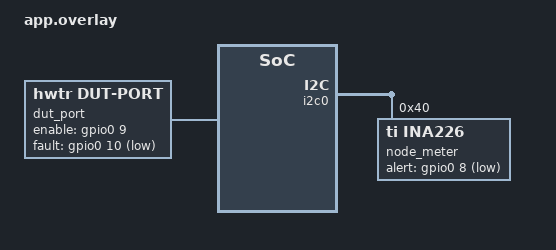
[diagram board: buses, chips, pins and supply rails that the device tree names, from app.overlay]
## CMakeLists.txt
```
# SPDX-License-Identifier: Apache-2.0
#
# The node's DATA x4 ports (src/ports.c) on native_sim, against an emulated
# board on the emulated I2C bus (src/emul.c): ztest.

cmake_minimum_required(VERSION 3.20.0)

set(BAY ${CMAKE_CURRENT_SOURCE_DIR}/../..)
# Same Kconfig options and devicetree bindings as the real application
set(KCONFIG_ROOT ${BAY}/Kconfig)
list(APPEND ZEPHYR_EXTRA_MODULES ${BAY}/../..)

find_package(Zephyr REQUIRED HINTS $ENV{ZEPHYR_BASE})
project(bay_ports)

target_include_directories(app PRIVATE ${BAY}/src)
target_sources(app PRIVATE
  src/main.c
  src/emul.c
  ${BAY}/src/ports.c
)
```

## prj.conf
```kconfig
# The node's DATA x4 ports on native_sim (see CMakeLists.txt)
# SPDX-License-Identifier: Apache-2.0

CONFIG_ZTEST=y
CONFIG_I2C=y
CONFIG_EMUL=y
CONFIG_GPIO=y
CONFIG_LOG=y
CONFIG_BAY_LOG_LEVEL_INF=y
# Short cycles: the test waits for them
CONFIG_BAY_POWER_CYCLE_MS=200
CONFIG_BAY_BOOTLOADER_HOLD_MS=20
CONFIG_BAY_PORTS_DISCHARGE_MS=500
# The INA226 nodes need their driver for the emulator to attach (never initialized)
CONFIG_SENSOR=y
# The pin matrix has its own test (tests/wires)
CONFIG_BAY_WIRES=n
```

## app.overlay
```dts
/*
 * A DATA x4 board on native_sim's emulated I2C bus (i2c0), as the bay node
 * application adds it, and the node's own INA226 on DUT_5V (dut_port's
 * power-monitor), its ALERT on an emulated GPIO.
 *
 * SPDX-License-Identifier: Apache-2.0
 */

#include "../../data-x4.dtsi"
#include "../../data-x6.dtsi"

/ {
	dut_port: dut-port {
		compatible = "hwtr,dut-port";
		enable-gpios = <&gpio0 9 GPIO_ACTIVE_HIGH>;
		fault-gpios = <&gpio0 10 GPIO_ACTIVE_LOW>;
		power-monitor = <&node_meter>;
	};
};

&i2c0 {
	/* ports.c reads it raw; its driver (dut.c's) is not in the test */
	node_meter: ina226@40 {
		compatible = "ti,ina226";
		reg = <0x40>;
		current-lsb-microamps = <50>;
		rshunt-micro-ohms = <50000>;
		alert-gpios = <&gpio0 8 GPIO_ACTIVE_LOW>;
		zephyr,deferred-init;
	};
};
```

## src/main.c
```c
/*
 * The node's DATA x4 ports (src/ports.c) against an emulated board: the
 * start one port at a time, the admission rule on the node's meter, a
 * latched fault, DUT_5V off and on (no I2C while off, the chips set up
 * again), RESET/BOOT (held while a port is off), a board that stops
 * answering and comes back, the shedding on the meter's ALERT or the poll,
 * the budget without a meter, and a port's VBUS while it is off.  Then
 * (ports_x6, after ports by name) a DATA x6 put in its place: found, its six
 * ports on their hub ports, its 16-bit expander, a fault, its meters, no
 * RESET/BOOT; and a board that is neither, left alone.
 *
 * SPDX-License-Identifier: Apache-2.0
 */

#include <zephyr/kernel.h>
#include <zephyr/drivers/gpio.h>
#include <zephyr/ztest.h>

#include "bay.h"
#include "emul.h"

/* io 0 (0x20): port 1 RST 0, BOOT 1, EN 2, FLT 3; port 2 EN 4, FLT 5, BOOT 6, RST 7; io 1 the same */
#define EN_A  BIT(2)
#define EN_B  BIT(4)
#define FLT_A 3
#define LINES (BIT(0) | BIT(1) | BIT(6) | BIT(7))
/* Both ports off: EN, RESET and BOOT outputs, low */
#define HELD  ((uint8_t)~(EN_A | EN_B | LINES))

static bool dut_on = true;
static int on_after_150ms, on_after_450ms;

/* --- What ports.c needs from the rest of the node --------------------------- */

bool dut_power_get(void)
{
	return dut_on;
}

/* Node v1.0 only (the eFuse on the DATA lead): not this test's dut_port */
void dut_lead_lost(enum dut_lead why)
{
	ARG_UNUSED(why);
	ztest_test_fail();
}

bool bay_rack_grant(struct rack_grant *g)
{
	ARG_UNUSED(g);
	ztest_test_fail();
	return false;
}

int usb_host_port_device(uint8_t hub_port, uint16_t *vid, uint16_t *pid)
{
	ARG_UNUSED(hub_port);
	ARG_UNUSED(vid);
	ARG_UNUSED(pid);
	return -ENODEV;
}

/* --- Helpers ---------------------------------------------------------------- */

static int ports_on(void)
{
	struct port_info pi;
	int n = 0;

	for (int i = 1; i <= 4; i++) {
		if (ports_info(i, &pi) == 0 && pi.on) {
			n++;
		}
	}
	return n;
}

static bool port_on(int slot)
{
	struct port_info pi;

	return ports_info(slot, &pi) == 0 && pi.on;
}

static void *suite_setup(void)
{
	zassert_ok(ports_init());
	/* Set up 5 ms after init, then one port every 300 ms */
	k_sleep(K_MSEC(150));
	on_after_150ms = ports_on();
	k_sleep(K_MSEC(300));
	on_after_450ms = ports_on();
	k_sleep(K_MSEC(1000));
	return NULL;
}

static void before(void *f)
{
	ARG_UNUSED(f);

	emul_power(true);
	emul_meter(true);
	emul_alert(true);
	emul_board_ma(300);
	dut_on = true;
	for (int io = 0; io < 2; io++) {
		for (int pin = 0; pin < 8; pin++) {
			emul_io_pin(io, pin, true);
		}
	}
	for (int i = 1; i <= 4; i++) {
		emul_port_vbus(i, 0, 0);
	}
	for (uint8_t a = 0x41; a <= 0x45; a++) {
		if (a != 0x42) {
			emul_ina_ma(a, 0);
		}
	}
	for (int i = 1; i <= 4; i++) {
		(void)ports_power(i, true, NULL);
	}
}

/* --- Tests ------------------------------------------------------------------ */

/* P0-P4 of the matrix expander (DAT, CK, both STB, RST) outputs at these levels, through its driver */
static void crosspoint_lines(uint8_t levels)
{
	const struct device *mx = DEVICE_DT_GET(DT_NODELABEL(ports_mx));

	zassert_true(device_is_ready(mx), "the expander's driver started with the board");
	for (gpio_pin_t pin = 0; pin < 5; pin++) {
		zassert_ok(gpio_pin_configure(mx, pin, (levels & BIT(pin)) ? GPIO_OUTPUT_HIGH : GPIO_OUTPUT_LOW));
	}
}

ZTEST(ports, test_1_start)
{
	zassert_equal(ports_count(), 4);
	zassert_equal(on_after_150ms, 1, "one port at a time: %d on after 150 ms", on_after_150ms);
	zassert_equal(on_after_450ms, 2, "%d on after 450 ms", on_after_450ms);
	zassert_equal(ports_on(), 4);
	/* EN outputs, high; everything else an input (RESET, BOOT released) */
	for (int io = 0; io < 2; io++) {
		zassert_equal(emul_io_reg(io, 3), (uint8_t)~(EN_A | EN_B));
		zassert_equal(emul_io_reg(io, 1) & (EN_A | EN_B), EN_A | EN_B);
	}
	zassert_equal(emul_ina_config(0x41), 0x4527, "INA226 averaging set");
	zassert_equal(emul_ina_config(0x45), 0x4527);
	/* MARK (the matrix expander's P7) an output, low; the other pins left inputs */
	zassert_equal(emul_io_reg(2, 3), 0x7F);
	zassert_equal(emul_io_reg(2, 1) & BIT(7), 0);
	/* The node's ALERT on its shunt over 1250 mA: 62.5 mV across 50 mOhm, 2.5 uV/LSB */
	zassert_equal(emul_ina_reg(0x40, 0x07), 25000);
	zassert_equal(emul_ina_reg(0x40, 0x06), 0x8000, "SOL, not latched");
}

ZTEST(ports, test_2_admission)
{
	struct port_info pi;
	int32_t others = 0;

	zassert_ok(ports_power(2, false, NULL));
	zassert_equal(emul_io_reg(0, 1) & EN_B, 0);
	/* Off: its RESET (7) and BOOT (6) outputs, low */
	zassert_equal(emul_io_reg(0, 3) & (BIT(6) | BIT(7)), 0);
	zassert_equal(emul_io_reg(0, 1) & (BIT(6) | BIT(7)), 0);

	/* The board 300 mA, ports 1 and 3 800 mA: with 100 mA kept for a start, past 1150 */
	emul_ina_ma(0x41, 400);
	emul_ina_ma(0x44, 400);
	zassert_equal(ports_power(2, true, &others), -EBUSY);
	zassert_equal(others, 1100, "the bay draws %d mA", others);
	zassert_equal(emul_io_reg(0, 1) & EN_B, 0, "refused: EN stays low");
	zassert_ok(ports_info(2, &pi));
	zassert_false(pi.on);
	zassert_false(pi.wanted, "a refused port does not come on later by itself");

	emul_ina_ma(0x41, 100);
	zassert_ok(ports_power(2, true, &others));
	zassert_equal(emul_io_reg(0, 1) & EN_B, EN_B);
	zassert_equal(emul_io_reg(0, 3) & (BIT(6) | BIT(7)), BIT(6) | BIT(7), "lines released");
}

ZTEST(ports, test_3_fault)
{
	struct port_info pi;

	zassert_equal(emul_io_reg(1, 1) & EN_A, EN_A, "port 3 on");
	emul_io_pin(1, FLT_A, false);
	k_sleep(K_MSEC(250));
	zassert_ok(ports_info(3, &pi));
	zassert_false(pi.on);
	zassert_true(pi.latched);
	zassert_true(pi.faults >= 1);
	zassert_equal(emul_io_reg(1, 1) & EN_A, 0, "EN low after a fault");
	zassert_equal(emul_io_reg(1, 3) & (BIT(0) | BIT(1)), 0, "RESET and BOOT held");

	emul_io_pin(1, FLT_A, true);
	zassert_ok(ports_power(3, true, NULL));
	zassert_ok(ports_info(3, &pi));
	zassert_true(pi.on);
	zassert_false(pi.latched);
}

ZTEST(ports, test_4_dut5v_cycle)
{
	int before_off;

	/* The crosspoints' lines set through the expander's driver before DUT_5V goes off */
	crosspoint_lines(0x0a);

	/* Every EN low while the chips still answer */
	ports_dut_power(false);
	zassert_equal(emul_io_reg(0, 1) & (EN_A | EN_B), 0);
	zassert_equal(emul_io_reg(1, 1) & (EN_A | EN_B), 0);
	dut_on = false;
	emul_power(false);

	/* No I2C to the board while DUT_5V is off */
	before_off = emul_offline();
	k_sleep(K_MSEC(1000));
	zassert_equal(emul_offline(), before_off, "%d transfers to the unpowered board",
		      emul_offline() - before_off);

	/* Back on: the chips at their defaults, set up again, every port off, then one by one */
	emul_power(true);
	dut_on = true;
	ports_dut_power(true);
	k_sleep(K_MSEC(50));
	zassert_equal(emul_ina_config(0x43), 0x4527, "INA226 set up again");
	zassert_equal(emul_io_reg(1, 3), HELD, "ports 3 and 4 off, RESET and BOOT held");
	zassert_equal(emul_io_reg(1, 1), 0);
	/* The matrix expander written back from its driver's copy: P0-P4 as they were, MARK low */
	zassert_equal(emul_io_reg(2, 3), 0x60);
	zassert_equal(emul_io_reg(2, 1) & 0x9f, 0x0a);
	zassert_equal(ports_on(), 1, "%d ports on 50 ms after DUT_5V on", ports_on());
	k_sleep(K_MSEC(1200));
	zassert_equal(ports_on(), 4);
}

ZTEST(ports, test_5_reset_boot)
{
	uint8_t log[16];
	uint8_t marks[16]; /* the matrix expander's outputs, MARK bit 7 */
	uint8_t mx;
	int n;

	(void)emul_io_cfg_log(0, log, ARRAY_SIZE(log));
	(void)emul_mx_log(marks, ARRAY_SIZE(marks));
	/* The crosspoints' lines through the expander's driver, as their driver leaves them */
	crosspoint_lines(0x15);
	mx = emul_io_reg(2, 1);
	zassert_equal(mx & 0x9f, 0x15);

	/* RESET: an output (low) for the pulse, then an input again */
	zassert_ok(ports_reset_pulse(1, K_MSEC(10)));
	n = emul_io_cfg_log(0, log, ARRAY_SIZE(log));
	zassert_equal(n, 2);
	zassert_equal(log[0] & BIT(0), 0, "RESET asserted");
	zassert_equal(log[1] & BIT(0), BIT(0), "RESET released");
	zassert_equal(emul_io_reg(0, 1) & BIT(0), 0, "its output register bit stays 0");
	/* MARK high from the RESET to its release, low again after; P0-P4 never move */
	zassert_equal(emul_mx_log(marks, ARRAY_SIZE(marks)), 2);
	zassert_equal(marks[0], mx, "raised once RESET is asserted");
	zassert_equal(marks[1], mx | BIT(7), "high until RESET is released");
	zassert_equal(emul_io_reg(2, 1), mx, "then low, P0-P6 as they were");
	zassert_equal(emul_io_reg(2, 3), 0x60, "P0-P4 and MARK outputs");

	/* BOOT held across a RESET pulse (port 2: BOOT 6, RESET 7) */
	zassert_ok(ports_boot(2, false, NULL));
	n = emul_io_cfg_log(0, log, ARRAY_SIZE(log));
	zassert_equal(n, 4);
	zassert_equal(log[0] & (BIT(6) | BIT(7)), BIT(7), "BOOT first");
	zassert_equal(log[1] & (BIT(6) | BIT(7)), 0, "then RESET");
	zassert_equal(log[2] & (BIT(6) | BIT(7)), BIT(7), "RESET released");
	zassert_equal(log[3] & (BIT(6) | BIT(7)), BIT(6) | BIT(7), "BOOT released");

	/* BOOT held across a power cycle of the port: off holds both, on releases RESET only */
	(void)emul_mx_log(marks, ARRAY_SIZE(marks));
	zassert_ok(ports_boot(2, true, NULL));
	n = emul_io_cfg_log(0, log, ARRAY_SIZE(log));
	zassert_equal(n, 3);
	zassert_equal(log[0] & (BIT(6) | BIT(7)), 0, "off: both held");
	zassert_equal(log[1] & (BIT(6) | BIT(7)), BIT(7), "on: RESET released, BOOT held");
	zassert_equal(log[2] & (BIT(6) | BIT(7)), BIT(6) | BIT(7), "then BOOT released");
	/* MARK high while the port is off, down once it is on again */
	zassert_equal(emul_mx_log(marks, ARRAY_SIZE(marks)), 3);
	zassert_equal(marks[0], mx);
	zassert_equal(marks[1], mx | BIT(7));
	zassert_equal(marks[2], mx);
	zassert_equal(emul_io_reg(0, 1) & EN_B, EN_B, "port 2 back on");

	/* Switched on: BOOT released first, then RESET */
	zassert_ok(ports_power(2, false, NULL));
	(void)emul_io_cfg_log(0, log, ARRAY_SIZE(log));
	zassert_ok(ports_power(2, true, NULL));
	n = emul_io_cfg_log(0, log, ARRAY_SIZE(log));
	zassert_equal(n, 2);
	zassert_equal(log[0] & (BIT(6) | BIT(7)), BIT(6), "BOOT first");
	zassert_equal(log[1] & (BIT(6) | BIT(7)), BIT(6) | BIT(7), "then RESET");

	/* An off port's lines stay held */
	zassert_ok(ports_power(2, false, NULL));
	zassert_equal(ports_reset_pulse(2, K_MSEC(10)), -EAGAIN);
	zassert_equal(emul_io_reg(0, 3) & (BIT(6) | BIT(7)), 0);
}

ZTEST(ports, test_6_board_gone)
{
	/* The lead pulled out with DUT_5V on: three polls without an answer */
	emul_power(false);
	k_sleep(K_MSEC(500));
	zassert_equal(ports_count(), 0, "a one-port node while the board is gone");

	/* Back: found again at the next probe, its ports on one by one */
	emul_power(true);
	k_sleep(K_MSEC(3500));
	zassert_equal(ports_count(), 4);
	zassert_equal(ports_on(), 4);
}

ZTEST(ports, test_7_shed)
{
	struct port_info pi;

	/* Port 2 the last one on; every port 200 mA, the bay 1100 mA */
	zassert_ok(ports_power(2, false, NULL));
	zassert_ok(ports_power(2, true, NULL));
	for (uint8_t a = 0x41; a <= 0x45; a++) {
		if (a != 0x42) {
			emul_ina_ma(a, 200);
		}
	}
	k_sleep(K_MSEC(150));
	zassert_equal(ports_on(), 4);

	/* Port 1 goes to 400 mA: 1300 mA, the meter's ALERT; the last one on goes, not port 1 */
	emul_ina_ma(0x41, 400);
	k_sleep(K_MSEC(5));
	zassert_ok(ports_info(2, &pi));
	zassert_false(pi.on, "shed within ms of the ALERT");
	zassert_true(pi.wanted, "still wanted");
	zassert_true(port_on(1));
	k_sleep(K_MSEC(100));
	zassert_equal(ports_on(), 3, "the bay back under 1250 mA: one port shed");

	/* 1100 mA + the 200 mA it drew: no room yet; port 1 at 100 mA: back */
	k_sleep(K_MSEC(1200));
	zassert_false(port_on(2));
	emul_ina_ma(0x41, 100);
	k_sleep(K_MSEC(1200));
	zassert_true(port_on(2), "back once the budget has room");

	/* No ALERT wired (the stand-ins): the poll sheds */
	emul_alert(false);
	emul_ina_ma(0x41, 400);
	k_sleep(K_MSEC(150));
	zassert_false(port_on(2), "shed by the poll");
	zassert_equal(ports_on(), 3);
}

ZTEST(ports, test_8_no_meter)
{
	int32_t others = 0;

	/* No node meter: the ports' sum plus 500 mA for the board, plus 100 mA, within 1150 */
	emul_meter(false);
	zassert_ok(ports_power(2, false, NULL));
	emul_ina_ma(0x41, 300);
	emul_ina_ma(0x44, 200);
	zassert_ok(ports_power(2, true, &others));

	zassert_ok(ports_power(2, false, NULL));
	emul_ina_ma(0x44, 300);
	zassert_equal(ports_power(2, true, &others), -EBUSY);
	zassert_equal(others, 1100, "300 + 300 mA and the board's 500: %d mA", others);
}

ZTEST(ports, test_9_vbus)
{
	struct port_info pi;
	int64_t t;

	/* A board powered from elsewhere on port 2 (4.4 V): EN refused, the port waits for it to go */
	zassert_ok(ports_power(2, false, NULL));
	emul_port_vbus(2, 4400, 0);
	zassert_equal(ports_power(2, true, NULL), -EALREADY);
	zassert_equal(emul_io_reg(0, 1) & EN_B, 0);
	zassert_ok(ports_info(2, &pi));
	zassert_true(pi.wanted);
	emul_port_vbus(2, 0, 0);
	k_sleep(K_MSEC(1200));
	zassert_true(port_on(2), "on once its VBUS has gone");

	/* The port's own charge, nothing on it (1.8 V): not a source, EN allowed */
	zassert_ok(ports_power(2, false, NULL));
	emul_port_vbus(2, 1800, 0);
	zassert_ok(ports_power(2, true, NULL));

	/* A power cycle waits for VBUS under 1 V: 5 V to 0 in 300 ms, under 1 V after 241 ms */
	emul_port_vbus(2, 0, 300);
	t = k_uptime_get();
	zassert_ok(ports_power_cycle(2, K_NO_WAIT, NULL));
	t = k_uptime_get() - t;
	zassert_true(t >= 220 && t < 600, "off %lld ms", t);
	zassert_true(port_on(2));

	/* Nothing on it to discharge it: the timeout (500 ms here), then back on */
	emul_port_vbus(2, 1800, 0);
	t = k_uptime_get();
	zassert_ok(ports_power_cycle(2, K_NO_WAIT, NULL));
	t = k_uptime_get() - t;
	zassert_true(t >= 500 && t < 900, "off %lld ms", t);
	zassert_true(port_on(2));
}

ZTEST_SUITE(ports, NULL, suite_setup, before, NULL, NULL);

/* --- A DATA x6 in the DATA x4's place ------------------------------------------ */

/* U2 (0x20): port n's EN on line 2n - 2, its FAULT_N on 2n - 1; P14-P17 spare */
#define X6_EN    0x0555
#define X6_FLT   0x0AAA
#define X6_SPARE 0xF000
#define X6_IN    0
#define X6_OUT   1
#define X6_CFG   3

static const uint8_t x6_ina[6] = {0x41, 0x43, 0x44, 0x45, 0x47, 0x4C};

/* The lead off, another board on it, on again */
static void swap_board(int kind)
{
	ports_dut_power(false);
	dut_on = false;
	emul_power(false);
	emul_board_kind(kind);
	emul_power(true);
	dut_on = true;
	ports_dut_power(true);
}

static int x6_on(void)
{
	int n = 0;

	for (int i = 1; i <= 6; i++) {
		n += port_on(i);
	}
	return n;
}

static void *x6_setup(void)
{
	swap_board(6);
	k_sleep(K_MSEC(2500));
	return NULL;
}

static void x6_before(void *f)
{
	ARG_UNUSED(f);

	emul_meter(true);
	emul_alert(true);
	emul_board_ma(300);
	for (int pin = 0; pin < 16; pin++) {
		emul_io_pin(0, pin, true);
	}
	for (int i = 0; i < 6; i++) {
		emul_port_vbus(i + 1, 0, 0);
		emul_ina_ma(x6_ina[i], 0);
	}
	for (int i = 1; i <= 6; i++) {
		(void)ports_power(i, true, NULL);
	}
}

ZTEST(ports_x6, test_1_found)
{
	static const uint8_t hub[6] = {6, 1, 2, 3, 4, 5};
	struct port_info pi;

	zassert_equal(ports_board(), DATA_X6);
	zassert_equal(ports_count(), 6);
	zassert_equal(x6_on(), 6, "%d of 6 on", x6_on());
	/* EN and the spare lines outputs, EN high and the spare ones low; FAULT_N inputs */
	zassert_equal(emul_x6_reg(X6_CFG), X6_FLT, "config 0x%04x", emul_x6_reg(X6_CFG));
	zassert_equal(emul_x6_reg(X6_OUT) & (X6_EN | X6_SPARE), X6_EN);
	for (int i = 0; i < 6; i++) {
		zassert_equal(emul_ina_config(x6_ina[i]), 0x4527, "INA226 0x%02x set up", x6_ina[i]);
	}
	/* USB-C 1 on hub port 6, USB-C n on n - 1; no RESET or BOOT line */
	for (int i = 1; i <= 6; i++) {
		zassert_ok(ports_info(i, &pi));
		zassert_equal(pi.hub_port, hub[i - 1], "port %d on hub port %u", i, pi.hub_port);
		zassert_false(pi.lines);
	}
	zassert_equal(ports_info(7, &pi), -ENOENT);
}

ZTEST(ports_x6, test_2_switch)
{
	zassert_ok(ports_power(5, false, NULL));
	zassert_equal(emul_x6_reg(X6_OUT) & X6_EN, X6_EN & ~BIT(8), "port 5's EN (P10) low only");
	zassert_false(port_on(5));
	zassert_ok(ports_power(5, true, NULL));
	zassert_equal(emul_x6_reg(X6_OUT) & X6_EN, X6_EN);
	zassert_ok(ports_power_cycle(6, K_MSEC(20), NULL));
	zassert_true(port_on(6));
}

ZTEST(ports_x6, test_3_fault)
{
	struct port_info pi;

	/* Port 6's FAULT_N (P13) low: off and latched, the others on */
	emul_io_pin(0, 11, false);
	k_sleep(K_MSEC(250));
	zassert_ok(ports_info(6, &pi));
	zassert_false(pi.on);
	zassert_true(pi.latched);
	zassert_true(pi.faults >= 1);
	zassert_equal(emul_x6_reg(X6_OUT) & BIT(10), 0, "its EN low");
	zassert_equal(x6_on(), 5);

	emul_io_pin(0, 11, true);
	zassert_ok(ports_power(6, true, NULL));
	zassert_ok(ports_info(6, &pi));
	zassert_true(pi.on);
	zassert_false(pi.latched);
}

ZTEST(ports_x6, test_4_meters)
{
	struct port_info pi;

	/* Each port read on its own INA226: ports 5 and 6 on the DATA x6's own two */
	emul_ina_ma(0x47, 150);
	emul_ina_ma(0x4C, 250);
	zassert_ok(ports_info(5, &pi));
	zassert_true(pi.meter);
	zassert_equal(pi.ma, 150);
	zassert_within(pi.mv, 5050, 2);
	zassert_ok(ports_info(6, &pi));
	zassert_equal(pi.ma, 250);
	zassert_ok(ports_info(1, &pi));
	zassert_equal(pi.ma, 0);
}

ZTEST(ports_x6, test_5_no_lines)
{
	zassert_equal(ports_reset_pulse(1, K_MSEC(10)), -ENOTSUP);
	zassert_equal(ports_boot(1, false, NULL), -ENOTSUP);
	zassert_true(port_on(1), "still on");
}

ZTEST(ports_x6, test_6_neither)
{
	uint8_t log[8];

	/* An expander at 0x20 alone: no board, nothing written to it */
	ports_dut_power(false);
	dut_on = false;
	emul_power(false);
	emul_board_kind(1);
	emul_power(true);
	(void)emul_io_cfg_log(0, log, ARRAY_SIZE(log));
	dut_on = true;
	ports_dut_power(true);
	k_sleep(K_MSEC(300));
	zassert_equal(ports_board(), DATA_UNKNOWN, "said, not taken for no board");
	zassert_equal(ports_count(), 0);
	zassert_equal(emul_io_cfg_log(0, log, ARRAY_SIZE(log)), 0, "its config written");
	zassert_equal(emul_io_reg(0, 1), 0xFF, "its outputs untouched");

	/* The DATA x6 back: found again */
	swap_board(6);
	k_sleep(K_MSEC(100));
	zassert_equal(ports_board(), DATA_X6);
	zassert_equal(ports_count(), 6);
}

ZTEST_SUITE(ports_x6, NULL, x6_setup, x6_before, NULL, NULL);
```

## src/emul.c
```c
/*
 * A DATA x4 board on native_sim's emulated I2C bus: two TCA6408A (as
 * "ti,tca9538", register compatible), the matrix expander (TCA9534A) and four INA226,
 * powered from DUT_5V like the real board.  Unpowered they NACK and forget
 * their registers.  The node's own INA226 (0x40) measures the board on
 * DUT_5V: the ports that are on and the board itself, its ALERT on gpio0.
 *
 * Or a DATA x6 (emul_board_kind()): one TCA9535 at 0x20, the same address
 * as the DATA x4's first expander (register pairs, port 0 then port 1),
 * and six INA226, the DATA x4's four and 0x47, 0x4C; no 0x21, no matrix.
 * Or a stray expander at 0x20 alone, neither board.
 *
 * Node v1.0 (dut_port's vin-efuse): the board is powered while the eFuse's
 * enable (dut_port's EN) is high, and the node's INA226 reads DATA_VIN, the
 * board's 5 V converted from it at 88 %.
 *
 * SPDX-License-Identifier: Apache-2.0
 */

#include <string.h>

#include <zephyr/kernel.h>
#include <zephyr/device.h>
#include <zephyr/drivers/emul.h>
#include <zephyr/drivers/gpio.h>
#include <zephyr/drivers/gpio/gpio_emul.h>
#include <zephyr/drivers/i2c.h>
#include <zephyr/drivers/i2c_emul.h>

#include "emul.h"

#define EFUSE DT_PROP(DT_NODELABEL(dut_port), vin_efuse)

static const struct gpio_dt_spec lead_en = GPIO_DT_SPEC_GET(DT_NODELABEL(dut_port), enable_gpios);

static bool powered = true;
static bool board_there = true;
static bool lead_short;
static int vin_mv = 20000;
static int offline;
static int kind = 4; /* 4 a DATA x4, 6 a DATA x6, 1 an expander at 0x20 alone */

static void board_update(void);

/* DUT_5V on (the first design), or the eFuse on (v1.0): DATA_VIN */
static bool lead_powered(void)
{
	if (EFUSE) {
		return !lead_short && gpio_emul_output_get(lead_en.port, lead_en.pin) > 0;
	}
	return powered;
}

/* The board's chips have power and are there to answer */
static bool board_up(void)
{
	return lead_powered() && board_there;
}

static void chips_follow(void);

/* --- TCA6408A / TCA9534A ---------------------------------------------------- */

#define DT_DRV_COMPAT ti_tca9538

struct io_data {
	uint8_t addr;
	uint16_t out; /* 8-bit chips use the low byte */
	uint16_t pol;
	uint16_t cfg;
	uint16_t pins; /* what drives the input pins from outside */
	uint16_t cfg_log[64];
	int ncfg;
};

static struct io_data *ios[3]; /* 0x20, 0x21, 0x38 */
/* The matrix expander (0x38): its output register at each CONFIG write of 0x20 and 0x21 */
static uint8_t mx_log[64];
static int nmx;

static int io_index(uint8_t addr)
{
	return addr == 0x38 ? 2 : addr & 1;
}

/* The DATA x6's TCA9535: 16 lines, register pairs */
static bool wide(const struct io_data *d)
{
	return kind == 6 && d->addr == 0x20;
}

/* 0x20 on every board; 0x21 and the matrix expander on a DATA x4 only */
static bool io_there(const struct io_data *d)
{
	return d->addr == 0x20 || kind == 4;
}

/* A register: the 8-bit chips' number, or a TCA9535's pair (reg / 2) and its byte */
static uint16_t *io_reg(struct io_data *d, uint8_t reg)
{
	switch (wide(d) ? reg / 2 : reg) {
	case 1:
		return &d->out;
	case 2:
		return &d->pol;
	case 3:
		return &d->cfg;
	default:
		return NULL;
	}
}

static void io_reset(struct io_data *d)
{
	d->out = 0xFFFF;
	d->pol = 0;
	d->cfg = 0xFFFF;
	d->ncfg = 0;
}

static uint16_t io_input(const struct io_data *d)
{
	/* Inputs from outside, outputs as driven */
	return ((d->pins & d->cfg) | (d->out & ~d->cfg)) ^ d->pol;
}

static uint8_t io_read(struct io_data *d, uint8_t reg)
{
	uint16_t *r = io_reg(d, reg);
	uint16_t v = r != NULL ? *r : io_input(d);

	return (v >> (wide(d) ? (reg & 1) * 8 : 0)) & 0xFF;
}

/* --- The two CH446Q behind 0x38 ---------------------------------------- */

/*
 * P0 DAT, P1 CK, P2 U7's STB, P3 U8's STB, P4 RST, pulled up on the board (an
 * input reads high; the other inputs low).  Both chips shift DAT in on CK's
 * rising edge; the one whose STB goes high sets the switch its 7-bit address
 * names (y * 16 + x) to DAT, which must then hold until STB falls.  DAT
 * must not change in the write that raises CK or STB (TAS, TDS).
 */
#define XP_DAT BIT(0)
#define XP_CK  BIT(1)
#define XP_RST BIT(4)

static const uint8_t xp_stb[2] = {BIT(2), BIT(3)};

static struct {
	uint8_t lines;
	uint8_t addr;
	uint8_t y[2][16];
	struct emul_xp_event log[256];
	int n;
	int resets;
	int glitches; /* DAT or CK moved while a strobe was high */
} xp;

static void xp_update(const struct io_data *d)
{
	uint8_t now = ((d->out & ~d->cfg) | (d->cfg & XP_RST)) & 0x1F;
	uint8_t rose = now & ~xp.lines;

	if (now & XP_RST) {
		xp.resets += (rose & XP_RST) != 0;
		memset(xp.y, 0, sizeof(xp.y));
	} else {
		if ((xp.lines & (xp_stb[0] | xp_stb[1])) && ((now ^ xp.lines) & (XP_DAT | XP_CK))) {
			xp.glitches++;
		}
		if ((rose & (XP_CK | xp_stb[0] | xp_stb[1])) && ((now ^ xp.lines) & XP_DAT)) {
			xp.glitches++;
		}
		if (rose & XP_CK) {
			xp.addr = ((xp.addr << 1) | ((now & XP_DAT) ? 1 : 0)) & 0x7F;
		}
		for (int c = 0; c < 2; c++) {
			if (rose & xp_stb[c]) {
				uint8_t x = xp.addr & 0xF, y = xp.addr >> 4;
				bool on = now & XP_DAT;

				WRITE_BIT(xp.y[c][x], y, on);
				if (xp.n < (int)ARRAY_SIZE(xp.log)) {
					xp.log[xp.n++] = (struct emul_xp_event){c, x, y, on};
				}
			}
		}
	}
	xp.lines = now;
}

uint8_t emul_xp_y(int chip, int x)
{
	return xp.y[chip][x];
}

int emul_xp_log(struct emul_xp_event *out, int max)
{
	int n = MIN(xp.n, max);

	memcpy(out, xp.log, n * sizeof(*out));
	xp.n = 0;
	return n;
}

int emul_xp_resets(void)
{
	return xp.resets;
}

int emul_xp_glitches(void)
{
	return xp.glitches;
}

static void io_write(struct io_data *d, uint8_t reg, uint8_t val)
{
	uint16_t *r = io_reg(d, reg);
	int shift = wide(d) ? (reg & 1) * 8 : 0;

	if (r != NULL) {
		*r = (*r & ~(0xFF << shift)) | (val << shift);
	}
	if (d == ios[2]) {
		xp_update(d);
	}
}

/* After a write that set the CONFIG register(s): logged, with the matrix expander's outputs */
static void io_cfg_written(struct io_data *d)
{
	if (d->ncfg < (int)ARRAY_SIZE(d->cfg_log)) {
		d->cfg_log[d->ncfg++] = d->cfg;
	}
	if (d != ios[2] && ios[2] != NULL && nmx < (int)ARRAY_SIZE(mx_log)) {
		mx_log[nmx++] = ios[2]->out;
	}
}

static int io_transfer(const struct emul *target, struct i2c_msg *msgs, int num_msgs, int addr)
{
	struct io_data *d = target->data;

	ARG_UNUSED(addr);

	chips_follow();
	if (!board_up() || !io_there(d)) {
		offline += !lead_powered();
		return -EIO;
	}
	/* One register, or a TCA9535's pair: its bytes alternate, port 0 then port 1 */
	if (num_msgs == 1 && !(msgs[0].flags & I2C_MSG_READ) &&
	    (msgs[0].len == 2 || (wide(d) && msgs[0].len == 3))) {
		uint8_t cmd = msgs[0].buf[0];

		for (uint32_t i = 1; i < msgs[0].len; i++) {
			io_write(d, wide(d) ? (cmd & ~1) | ((cmd + i - 1) & 1) : cmd, msgs[0].buf[i]);
		}
		if (io_reg(d, cmd) == &d->cfg) {
			io_cfg_written(d);
		}
		board_update();
		return 0;
	}
	if (num_msgs == 2 && !(msgs[0].flags & I2C_MSG_READ) && (msgs[1].flags & I2C_MSG_READ)) {
		uint8_t cmd = msgs[0].buf[0];

		for (uint32_t i = 0; i < msgs[1].len; i++) {
			msgs[1].buf[i] = io_read(d, wide(d) ? (cmd & ~1) | ((cmd + i) & 1) : cmd + i);
		}
		return 0;
	}
	return -EIO;
}

static const struct i2c_emul_api io_api = {.transfer = io_transfer};

static int io_init(const struct emul *target, const struct device *parent)
{
	struct io_data *d = target->data;

	ARG_UNUSED(parent);
	d->addr = target->bus.i2c->addr;
	io_reset(d);
	d->pins = 0xFFFF; /* FAULT_N pulled up, RESET and BOOT on 100k pull-ups */
	ios[io_index(d->addr)] = d;
	return 0;
}

#define IO_EMUL(n)                                                                                 \
	static struct io_data io_data_##n;                                                         \
	EMUL_DT_INST_DEFINE(n, io_init, &io_data_##n, NULL, &io_api, NULL)

DT_INST_FOREACH_STATUS_OKAY(IO_EMUL)

#undef DT_DRV_COMPAT

/* --- INA226 ---------------------------------------------------------------- */

#define DT_DRV_COMPAT ti_ina226

struct ina_data {
	uint8_t addr;
	uint16_t config;
	uint16_t mask;
	uint16_t limit;
	int ma;
};

static struct ina_data *inas[16]; /* by address - 0x40 */
static bool meter_present = true;
static bool alert_wired = true;
static int board_ma = 300;

/* Port n: its expander, EN pin and INA226 (data-x4.dtsi, data-x6.dtsi) */
struct wire {
	uint8_t io, en, ina;
};

static const struct wire x4_wiring[4] = {{0, 2, 0x41}, {0, 4, 0x43}, {1, 2, 0x44}, {1, 4, 0x45}};
static const struct wire x6_wiring[6] = {{0, 0, 0x41}, {0, 2, 0x43}, {0, 4, 0x44},
					 {0, 6, 0x45}, {0, 8, 0x47}, {0, 10, 0x4C}};

static int nports(void)
{
	return kind == 6 ? 6 : kind == 4 ? 4 : 0;
}

static const struct wire *wiring(int n)
{
	return kind == 6 ? &x6_wiring[n] : &x4_wiring[n];
}

static bool en_was[6];
static int64_t off_at[6];
static int discharge_ms[6];
static int ext_mv[6];

static bool port_en(int n)
{
	const struct io_data *d = ios[wiring(n)->io];
	uint16_t en = BIT(wiring(n)->en);

	return board_up() && !(d->cfg & en) && (d->out & en);
}

static int port_mv(int n)
{
	int64_t t = k_uptime_get() - off_at[n];
	int mv = 0;

	if (port_en(n)) {
		return 5050;
	}
	if (discharge_ms[n] > 0 && t < discharge_ms[n]) {
		mv = (int)(5050 - t * 5050 / discharge_ms[n]);
	}
	return MAX(mv, ext_mv[n]);
}

/* What the node's INA226 measures, mA: DUT_5V (the first design), or DATA_VIN (v1.0) */
static int meter_ma(void)
{
	int ma = board_ma;

	for (int n = 0; n < nports(); n++) {
		if (port_en(n) && inas[wiring(n)->ina - 0x40] != NULL) {
			ma += inas[wiring(n)->ina - 0x40]->ma;
		}
	}
	if (EFUSE) {
		/* The board's 5 V from DATA_VIN at 88 % */
		return board_up() ? ma * 5000 * 100 / (vin_mv * 88) : 0;
	}
	return ma;
}

static int meter_mv(void)
{
	if (EFUSE) {
		return lead_powered() ? vin_mv : 0;
	}
	return 5000;
}

/* The node's shunt: 2.5 uV/LSB across 50 mOhm, 20 LSB per mA */
static int16_t meter_shunt(void)
{
	return (int16_t)CLAMP(meter_ma() * 20, INT16_MIN, INT16_MAX);
}

/* The port an INA226 measures on the board there now, -1 none (the node's, or not on it) */
static int port_of(uint8_t addr)
{
	for (int n = 0; n < nports(); n++) {
		if (wiring(n)->ina == addr) {
			return n;
		}
	}
	return -1;
}

static int ina_transfer(const struct emul *target, struct i2c_msg *msgs, int num_msgs, int addr)
{
	struct ina_data *d = target->data;
	int n = port_of(d->addr);
	bool node = d->addr == 0x40;
	uint16_t v;

	ARG_UNUSED(addr);

	chips_follow();
	if (node ? !meter_present : !board_up() || n < 0) {
		offline += !node && !lead_powered();
		return -EIO;
	}
	if (num_msgs == 1 && !(msgs[0].flags & I2C_MSG_READ) && msgs[0].len == 3) {
		v = (msgs[0].buf[1] << 8) | msgs[0].buf[2];
		switch (msgs[0].buf[0]) {
		case 0x00:
			d->config = v;
			break;
		case 0x06:
			d->mask = v;
			break;
		case 0x07:
			d->limit = v;
			break;
		default:
			break;
		}
		board_update();
		return 0;
	}
	if (num_msgs == 2 && (msgs[1].flags & I2C_MSG_READ) && msgs[1].len >= 1 && msgs[1].len <= 2) {
		switch (msgs[0].buf[0]) {
		case 0x00:
			v = d->config;
			break;
		case 0x01: /* 2.5 uV/LSB across 100 mOhm: 40 LSB per mA, saturated at 81.92 mV */
			v = node ? meter_shunt()
				 : (uint16_t)(int16_t)CLAMP(port_en(n) ? d->ma * 40 : 0, INT16_MIN,
								INT16_MAX);
			break;
		case 0x02: /* 1.25 mV/LSB */
			v = (node ? meter_mv() : port_mv(n)) * 4 / 5;
			break;
		case 0x06:
			v = d->mask;
			break;
		case 0x07:
			v = d->limit;
			break;
		default:
			v = 0;
			break;
		}
		msgs[1].buf[0] = v >> 8;
		if (msgs[1].len == 2) {
			msgs[1].buf[1] = v & 0xFF;
		}
		return 0;
	}
	return -EIO;
}

static const struct i2c_emul_api ina_api = {.transfer = ina_transfer};

static int ina_init(const struct emul *target, const struct device *parent)
{
	struct ina_data *d = target->data;

	ARG_UNUSED(parent);
	d->addr = target->bus.i2c->addr;
	d->config = 0x4127;
	inas[d->addr - 0x40] = d;
	return 0;
}

#define INA_EMUL(n)                                                                                \
	static struct ina_data ina_data_##n;                                                       \
	EMUL_DT_INST_DEFINE(n, ina_init, &ina_data_##n, NULL, &ina_api, NULL)

DT_INST_FOREACH_STATUS_OKAY(INA_EMUL)

/* --- The board as a whole ---------------------------------------------------- */

static const struct gpio_dt_spec alert = GPIO_DT_SPEC_GET(DT_NODELABEL(node_meter), alert_gpios);

/* A port's EN edges, and the node's ALERT (SOL, not latched: it follows the shunt) */
static void board_update(void)
{
	const struct ina_data *m = inas[0];
	bool fire;

	for (int n = 0; n < nports(); n++) {
		bool en = port_en(n);

		if (en_was[n] && !en) {
			off_at[n] = k_uptime_get();
		}
		en_was[n] = en;
	}
	fire = alert_wired && meter_present && (m->mask & BIT(15)) && meter_shunt() > (int16_t)m->limit;
	(void)gpio_emul_input_set(alert.port, alert.pin, !fire);
}

/* Power-on defaults of the board's chips (not the node's INA226) */
static void chips_reset(void)
{
	for (int i = 0; i < (int)ARRAY_SIZE(ios); i++) {
		io_reset(ios[i]);
	}
	/* The crosspoints with them: held in reset until the expander drives RST */
	if (ios[2] != NULL) {
		xp_update(ios[2]);
	}
	for (int i = 1; i < (int)ARRAY_SIZE(inas); i++) {
		if (inas[i] != NULL) {
			inas[i]->config = 0x4127;
		}
	}
}

/* v1.0: the chips start from their defaults each time DATA_VIN comes back */
static void chips_follow(void)
{
	static bool was_up = true;
	bool up = board_up();

	if (EFUSE && up && !was_up) {
		chips_reset();
	}
	was_up = up;
}

/* --- For the test --------------------------------------------------------------- */

void emul_power(bool on)
{
	if (on && !powered) {
		chips_reset();
	}
	powered = on;
	board_update();
}

void emul_vin(int mv)
{
	vin_mv = mv;
	board_update();
}

void emul_lead_short(bool shorted)
{
	lead_short = shorted;
	board_update();
}

void emul_board(bool there)
{
	board_there = there;
	board_update();
}

void emul_board_kind(int k)
{
	kind = k;
	memset(en_was, 0, sizeof(en_was));
	board_update();
}

uint16_t emul_x6_reg(int pair)
{
	struct io_data *d = ios[0];

	return pair == 0 ? io_input(d) : *io_reg(d, pair * 2);
}

int emul_offline(void)
{
	return offline;
}

uint8_t emul_io_reg(int io, uint8_t reg)
{
	return io_read(ios[io], reg);
}

void emul_io_pin(int io, uint8_t pin, bool level)
{
	WRITE_BIT(ios[io]->pins, pin, level);
}

int emul_io_cfg_log(int io, uint8_t *out, int max)
{
	int n = MIN(ios[io]->ncfg, max);

	for (int i = 0; i < n; i++) {
		out[i] = ios[io]->cfg_log[i] & 0xFF;
	}
	ios[io]->ncfg = 0;
	return n;
}

int emul_mx_log(uint8_t *out, int max)
{
	int n = MIN(nmx, max);

	memcpy(out, mx_log, n);
	nmx = 0;
	return n;
}

void emul_ina_ma(uint8_t addr, int ma)
{
	inas[addr - 0x40]->ma = ma;
	board_update();
}

uint16_t emul_ina_config(uint8_t addr)
{
	return inas[addr - 0x40]->config;
}

uint16_t emul_ina_reg(uint8_t addr, uint8_t reg)
{
	const struct ina_data *d = inas[addr - 0x40];

	return reg == 0x06 ? d->mask : reg == 0x07 ? d->limit : d->config;
}

void emul_board_ma(int ma)
{
	board_ma = ma;
	board_update();
}

void emul_meter(bool present)
{
	meter_present = present;
	board_update();
}

void emul_alert(bool wired)
{
	alert_wired = wired;
	board_update();
}

void emul_port_vbus(int port, int ext, int discharge)
{
	ext_mv[port - 1] = ext;
	discharge_ms[port - 1] = discharge;
}
```

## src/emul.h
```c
/*
 * The emulated DATA board (emul.c), for the test: a DATA x4 unless
 * emul_board_kind() says otherwise.
 *
 * SPDX-License-Identifier: Apache-2.0
 */

#ifndef PORTS_TEST_EMUL_H_
#define PORTS_TEST_EMUL_H_

#include <stdbool.h>
#include <stdint.h>

/* DUT_5V to the board: off, its chips NACK; back on, they start from their defaults */
void emul_power(bool on);
/* Transfers the unpowered board was sent */
int emul_offline(void);
/* io 0: 0x20 (ports 1-2), 1: 0x21 (ports 3-4), 2: 0x38 (the matrix expander) */
uint8_t emul_io_reg(int io, uint8_t reg);
/* What drives an input pin from outside (FAULT_N: 0 = fault); a DATA x6's U2 is io 0, pins 0-15 */
void emul_io_pin(int io, uint8_t pin, bool level);
/* The CONFIG register values written since the last call */
int emul_io_cfg_log(int io, uint8_t *out, int max);
/* The matrix expander's output register (0x38, MARK on P7) at each of those writes on 0x20 and 0x21 */
int emul_mx_log(uint8_t *out, int max);
/* The two crosspoints behind 0x38: a switch write, chip 0 U7, 1 U8 */
struct emul_xp_event {
	uint8_t chip;
	uint8_t x;
	uint8_t y;
	bool on;
};
/* The Y lines chip's X line x is joined to */
uint8_t emul_xp_y(int chip, int x);
/* The switch writes since the last call, in order */
int emul_xp_log(struct emul_xp_event *out, int max);
/* RST pulses seen; DAT or CK moving while a strobe was high, DAT moving with a CK or STB edge */
int emul_xp_resets(void);
int emul_xp_glitches(void);
/* A port's draw while it is on (0x41, 0x43-0x45; a DATA x6's also 0x47, 0x4C) */
void emul_ina_ma(uint8_t addr, int ma);
uint16_t emul_ina_config(uint8_t addr);
uint16_t emul_ina_reg(uint8_t addr, uint8_t reg);
/* The node's INA226 (0x40): the board's own draw on top of the ports', and whether it answers */
void emul_board_ma(int ma);
void emul_meter(bool present);
/* Its ALERT wired to the node (a stand-in has none: the poll sheds) */
void emul_alert(bool wired);
/* Port 1-4 (1-6) while off: its VBUS falls from 5 V to 0 in discharge_ms, or a board holds it at ext_mv */
void emul_port_vbus(int port, int ext_mv, int discharge_ms);

/* Node v1.0 (the eFuse's EN powers the board): the rack's VIN, 20 V by default */
void emul_vin(int mv);
/* A short on the lead: DATA_VIN stays at 0 with the eFuse on */
void emul_lead_short(bool shorted);
/* A DATA board on the lead or not (none: nothing answers, nothing draws) */
void emul_board(bool there);
/* Which: 4 a DATA x4 (the default), 6 a DATA x6, 1 an expander at 0x20 alone (neither) */
void emul_board_kind(int kind);
/* A DATA x6's U2 (0x20): its register pair, 0 input, 1 output, 2 polarity, 3 config; P1x the high byte */
uint16_t emul_x6_reg(int pair);

#endif
```
